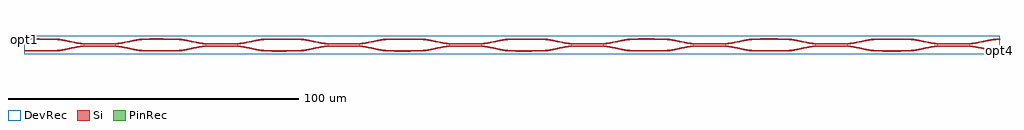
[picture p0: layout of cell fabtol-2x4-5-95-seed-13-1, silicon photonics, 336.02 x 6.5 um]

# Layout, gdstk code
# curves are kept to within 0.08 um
import gdstk
lib = gdstk.Library(unit=1e-6, precision=1e-09)
def R(c, l, rs):  # rectangles x0, y0, x1, y1
    for r in rs: c.add(gdstk.rectangle(r[:2], r[2:], *l))
def P(c, l, *ps):  # polygons
    for p in ps: c.add(gdstk.Polygon(p, *l))
Si = (1, 0)
PinRec = (1, 10)
DevRec = (68, 0)

layer_3_0_phase_sec_2_25 = lib.new_cell('layer-3_0_phase_sec_2$25')
P(layer_3_0_phase_sec_2_25, Si, [(2.235,-0.231),(0,-0.225),(0,0.225),(10,0.225),(10,-0.225)])

layer_3_0_phase_sec_1_25 = lib.new_cell('layer-3_0_phase_sec_1$25')
P(layer_3_0_phase_sec_1_25, Si, [(1.243,-0.239),(0,-0.225),(0,0.225),(10,0.225),(10,-0.225)])

layer_3_0_phase_sec_0_25 = lib.new_cell('layer-3_0_phase_sec_0$25')
P(layer_3_0_phase_sec_0_25, Si, [(2.988,-0.24),(0,-0.225),(0,0.225),(10,0.225),(10,-0.225)])

layer_0_0_phase_sec_0_25 = lib.new_cell('layer-0_0_phase_sec_0$25')
P(layer_0_0_phase_sec_0_25, Si, [(3.153,-0.242),(0,-0.225),(0,0.225),(10,0.225),(10,-0.225)])

layer_0_0_phase_sec_1_25 = lib.new_cell('layer-0_0_phase_sec_1$25')
P(layer_0_0_phase_sec_1_25, Si, [(2.083,-0.227),(0,-0.225),(0,0.225),(10,0.225),(10,-0.225)])

layer_2_0_phase_sec_3_25 = lib.new_cell('layer-2_0_phase_sec_3$25')
P(layer_2_0_phase_sec_3_25, Si, [(1.588,-0.238),(0,-0.225),(0,0.225),(10,0.225),(10,-0.225)])

dc_arm_down_25 = lib.new_cell('dc_arm_down$25')
R(dc_arm_down_25, Si, [(12,-0.55,20,-0.1)])
P(dc_arm_down_25, Si, [(32,-2.225),(30.861,-2.188),(29.344,-2.033),(22.966,-0.793),(21.481,-0.613),(20,-0.55),(20,-0.1),(21.139,-0.137),(22.656,-0.292),(29.034,-1.532),(30.519,-1.712),(32,-1.775)],
  [(0,-2.225),(0,-1.775),(1.481,-1.712),(2.966,-1.532),(9.344,-0.292),(10.861,-0.137),(12,-0.1),(12,-0.55),(10.519,-0.613),(9.034,-0.793),(2.656,-2.033),(1.139,-2.188)])

dc_arm_up_25 = lib.new_cell('dc_arm_up$25')
R(dc_arm_up_25, Si, [(12,0.1,20,0.55)])
P(dc_arm_up_25, Si, [(20,0.1),(20,0.55),(21.481,0.613),(22.966,0.793),(29.344,2.033),(30.861,2.188),(32,2.225),(32,1.775),(30.519,1.712),(29.034,1.532),(22.656,0.292),(21.139,0.137)],
  [(12,0.1),(10.861,0.137),(9.344,0.292),(2.966,1.532),(1.481,1.712),(0,1.775),(0,2.225),(1.139,2.188),(2.656,2.033),(9.034,0.793),(10.519,0.613),(12,0.55)])

dc_25 = lib.new_cell('dc$25')
dc_25.add(gdstk.Reference(dc_arm_down_25, (0,0)))
dc_25.add(gdstk.Reference(dc_arm_up_25, (0,0)))

layer_0_0_phase_sec_2_25 = lib.new_cell('layer-0_0_phase_sec_2$25')
P(layer_0_0_phase_sec_2_25, Si, [(5.998,-0.248),(0,-0.225),(0,0.225),(10,0.225),(10,-0.225)])

layer_0_0_phase_sec_3_25 = lib.new_cell('layer-0_0_phase_sec_3$25')
P(layer_0_0_phase_sec_3_25, Si, [(3.132,-0.23),(0,-0.225),(0,0.225),(10,0.225),(10,-0.225)])

layer_1_0_phase_sec_0_25 = lib.new_cell('layer-1_0_phase_sec_0$25')
P(layer_1_0_phase_sec_0_25, Si, [(1.107,-0.231),(0,-0.225),(0,0.225),(10,0.225),(10,-0.225)])

layer_1_0_phase_sec_1_25 = lib.new_cell('layer-1_0_phase_sec_1$25')
P(layer_1_0_phase_sec_1_25, Si, [(1.291,-0.247),(0,-0.225),(0,0.225),(10,0.225),(10,-0.225)])

layer_1_0_phase_sec_2_25 = lib.new_cell('layer-1_0_phase_sec_2$25')
P(layer_1_0_phase_sec_2_25, Si, [(5.698,-0.228),(0,-0.225),(0,0.225),(10,0.225),(10,-0.225)])

layer_1_0_phase_sec_3_25 = lib.new_cell('layer-1_0_phase_sec_3$25')
P(layer_1_0_phase_sec_3_25, Si, [(4.334,-0.251),(0,-0.225),(0,0.225),(10,0.225),(10,-0.225)])

layer_3_0_phase_sec_3_25 = lib.new_cell('layer-3_0_phase_sec_3$25')
P(layer_3_0_phase_sec_3_25, Si, [(7.815,-0.247),(0,-0.225),(0,0.225),(10,0.225),(10,-0.225)])

layer_2_0_phase_sec_0_25 = lib.new_cell('layer-2_0_phase_sec_0$25')
P(layer_2_0_phase_sec_0_25, Si, [(6.072,-0.23),(0,-0.225),(0,0.225),(10,0.225),(10,-0.225)])

layer_2_0_phase_sec_1_25 = lib.new_cell('layer-2_0_phase_sec_1$25')
P(layer_2_0_phase_sec_1_25, Si, [(5.409,-0.247),(0,-0.225),(0,0.225),(10,0.225),(10,-0.225)])

layer_2_0_phase_sec_2_25 = lib.new_cell('layer-2_0_phase_sec_2$25')
P(layer_2_0_phase_sec_2_25, Si, [(1.398,-0.241),(0,-0.225),(0,0.225),(10,0.225),(10,-0.225)])

fabtol_2x4_5_95_seed_13_ = lib.new_cell('fabtol-2x4-5-95-seed-13-1')
R(fabtol_2x4_5_95_seed_13_, DevRec, [(0,-1,336,5.499)])
fabtol_2x4_5_95_seed_13_.add(gdstk.FlexPath([(335.99,0.251),(336.01,0.251)], 0.45, ends="flush", simple_path=True, layer=1, datatype=10))  # PinRec
fabtol_2x4_5_95_seed_13_.add(gdstk.FlexPath([(335.99,4.251),(336.01,4.251)], 0.45, ends="flush", simple_path=True, layer=1, datatype=10))  # PinRec
fabtol_2x4_5_95_seed_13_.add(gdstk.FlexPath([(0.01,4.251),(-0.01,4.251)], 0.45, ends="flush", simple_path=True, layer=1, datatype=10))  # PinRec
fabtol_2x4_5_95_seed_13_.add(gdstk.Reference(layer_3_0_phase_sec_2_25, (294,4.251)))
fabtol_2x4_5_95_seed_13_.add(gdstk.Reference(layer_3_0_phase_sec_1_25, (252,0.251)))
fabtol_2x4_5_95_seed_13_.add(gdstk.Reference(layer_3_0_phase_sec_0_25, (252,4.251)))
fabtol_2x4_5_95_seed_13_.add(gdstk.Reference(layer_0_0_phase_sec_0_25, (0,4.251)))
fabtol_2x4_5_95_seed_13_.add(gdstk.Reference(layer_0_0_phase_sec_1_25, (0,0.251)))
fabtol_2x4_5_95_seed_13_.add(gdstk.Reference(layer_2_0_phase_sec_3_25, (210,0.251)))
fabtol_2x4_5_95_seed_13_.add(gdstk.Reference(dc_25, (10,2.251)))
fabtol_2x4_5_95_seed_13_.add(gdstk.Reference(dc_25, (52,2.251)))
fabtol_2x4_5_95_seed_13_.add(gdstk.Reference(dc_25, (94,2.251)))
fabtol_2x4_5_95_seed_13_.add(gdstk.Reference(dc_25, (136,2.251)))
fabtol_2x4_5_95_seed_13_.add(gdstk.Reference(dc_25, (178,2.251)))
fabtol_2x4_5_95_seed_13_.add(gdstk.Reference(dc_25, (220,2.251)))
fabtol_2x4_5_95_seed_13_.add(gdstk.Reference(dc_25, (262,2.251)))
fabtol_2x4_5_95_seed_13_.add(gdstk.Reference(dc_25, (304,2.251)))
fabtol_2x4_5_95_seed_13_.add(gdstk.Reference(layer_0_0_phase_sec_2_25, (42,4.251)))
fabtol_2x4_5_95_seed_13_.add(gdstk.Reference(layer_0_0_phase_sec_3_25, (42,0.251)))
fabtol_2x4_5_95_seed_13_.add(gdstk.Reference(layer_1_0_phase_sec_0_25, (84,4.251)))
fabtol_2x4_5_95_seed_13_.add(gdstk.Reference(layer_1_0_phase_sec_1_25, (84,0.251)))
fabtol_2x4_5_95_seed_13_.add(gdstk.Reference(layer_1_0_phase_sec_2_25, (126,4.251)))
fabtol_2x4_5_95_seed_13_.add(gdstk.Reference(layer_1_0_phase_sec_3_25, (126,0.251)))
fabtol_2x4_5_95_seed_13_.add(gdstk.Reference(layer_3_0_phase_sec_3_25, (294,0.251)))
fabtol_2x4_5_95_seed_13_.add(gdstk.Reference(layer_2_0_phase_sec_0_25, (168,4.251)))
fabtol_2x4_5_95_seed_13_.add(gdstk.Reference(layer_2_0_phase_sec_1_25, (168,0.251)))
fabtol_2x4_5_95_seed_13_.add(gdstk.Reference(layer_2_0_phase_sec_2_25, (210,4.251)))
fabtol_2x4_5_95_seed_13_.add(gdstk.Label('opt4', (336,0.251), layer=1, texttype=10))
fabtol_2x4_5_95_seed_13_.add(gdstk.Label('opt3', (336,4.251), layer=1, texttype=10))
fabtol_2x4_5_95_seed_13_.add(gdstk.Label('opt1', (0,4.251), layer=1, texttype=10))

lib.write_gds('fabtol-2x4-5-95-seed-13-1.gds')
